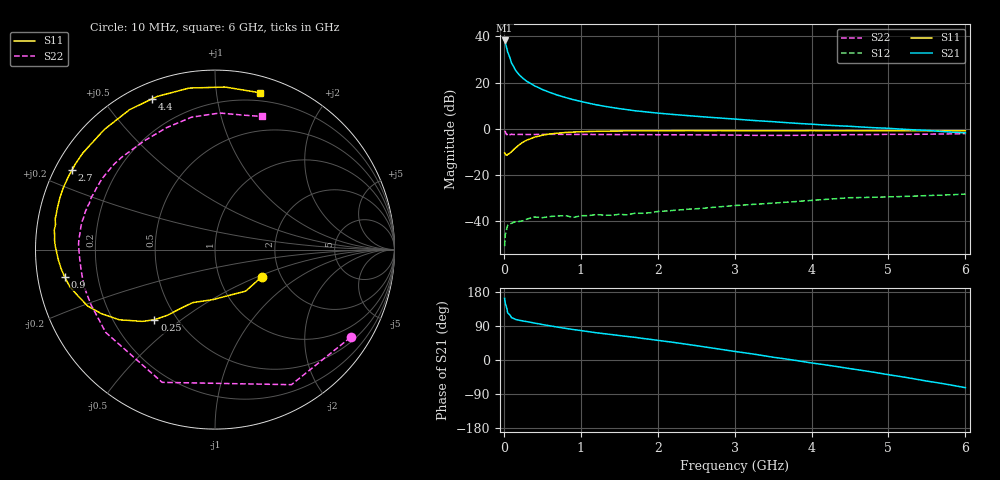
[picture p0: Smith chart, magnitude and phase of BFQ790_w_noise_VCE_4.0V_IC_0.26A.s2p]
! (c) 2015  Infineon Technologies AG, Munich
! Infineon Technologies  Discrete & RF Semiconductors
! BFQ790
! VCE =  4.0 V,  IC = 0.26 A
! Common Emitter S-Parameters:  May 2015
# GHz  S  MA  R  50
!  f  S11  S21  S12  S22
! GHz  MAG  ANG  MAG  ANG  MAG  ANG  MAG  ANG
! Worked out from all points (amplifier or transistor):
!   77 points, 10 MHz to 6 GHz, reference 50 ohm
!   highest |S21| = 38.2 dB at 10 MHz (marker M1)
!   |S21| within 3 dB of that: start of sweep to 34.92 MHz
!   unconditionally stable (mu >= 1): 187.5 MHz to 797.1 MHz; 801.6 MHz to end of sweep
!   at 130 MHz: K = 0.80, MSG = 33.6 dB, |S12| = -40.4 dB
!   at 2.2 GHz: K = 1.30, MAG = 17.4 dB, |S12| = -35.3 dB
!   at 6 GHz: K = 1.10, MAG = 11.3 dB, |S12| = -28.2 dB
!   lowest NFmin = 3.78 dB at 1.5 GHz
!   S11 on the Smith chart (normalised r, x): 10 MHz: 1.59, -0.53; 250 MHz: 0.38, -0.40; 900 MHz: 0.08, -0.09; 2.7 GHz: 0.05, +0.26; 4.4 GHz: 0.07, +0.66; 6 GHz: 0.13, +1.32
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0.01  0.301 -30.4  81.46 162.7  0.0029 69.6  0.8994 -32.9
0.02  0.2877 -53.5  71.95 148.2  0.0053 61.8  0.8647 -60.5
0.05  0.2787 -92.3  45.75 124.3  0.0082 33.4  0.796 -111.7
0.1  0.3208 -112.9  26.38 111.7  0.0091 23.5  0.7639 -142.8
0.15  0.3841 -120.7  18.69 107.2  0.0098 18.2  0.756 -155.9
0.2  0.4527 -126.0  14.71 104.8  0.0099 22.7  0.757 -162.8
0.25  0.516 -130.8  12.28 103.0  0.0103 16.8  0.7553 -167.4
0.3  0.5698 -135.4  10.6 101.2  0.0112 17.1  0.7545 -170.8
0.4  0.6609 -143.7  8.483 97.3  0.0124 15.3  0.7553 -175.7
0.5  0.7261 -150.5  7.089 93.6  0.012 11.1  0.7577 -179.2
0.6  0.7762 -156.1  6.107 90.2  0.0127 12.5  0.7607 177.9
0.7  0.8049 -161.2  5.338 86.7  0.013 14.2  0.7608 175.4
0.9  0.851 -169.6  4.284 80.4  0.0121 8.9  0.7576 171.7
1.1  0.8745 -176.2  3.589 74.8  0.0133 12.2  0.7574 168.2
1.5  0.8973 174.8  2.738 64.6  0.0142 14.6  0.7507 162.5
2.1  0.9091 163.6  2.115 49.3  0.0167 15.3  0.744 153.7
2.7  0.9116 150.8  1.763 31.9  0.0199 11.1  0.7371 142.0
3.1  0.9089 141.6  1.58 19.9  0.0224 5.7  0.7272 133.0
4.1  0.9106 119.3  1.229 -10.5  0.0291 -8.5  0.7322 109.3
4.4  0.9099 112.8  1.153 -19.6  0.0315 -13.7  0.7431 102.3
5.1  0.9071 96.6  1.001 -41.9  0.0341 -27.9  0.7604 86.0
6  0.9092 73.9  0.818 -73.1  0.0388 -49.0  0.7874 70.4
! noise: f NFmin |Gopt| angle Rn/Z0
0.45  6.29  0.51  143  0.62
0.9  4.4  0.63  169  0.19
1.5  3.78  0.73  -172  0.1
1.8  3.82  0.74  -166  0.12
2.6  4.01  0.76  -151  0.32
3.5  4.47  0.84  -134  0.73
